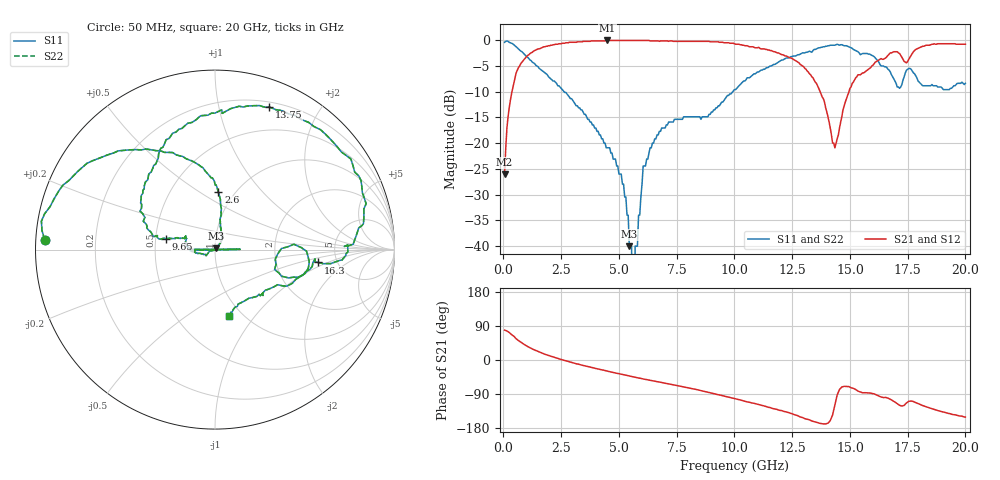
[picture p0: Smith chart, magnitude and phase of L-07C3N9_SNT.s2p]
#	mhz	s	ma	r	50
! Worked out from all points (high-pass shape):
!   400 points, 50 MHz to 20 GHz, reference 50 ohm
!   highest |S21| = -0.09 dB at 4.5 GHz (marker M1); lowest = -26.0 dB at 50 MHz (marker M2)
!   |S21| within 3 dB of the highest: 1.027 GHz to 12.2 GHz (11.17 GHz wide, 169 % of centre); 17.64 GHz to end of sweep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
!   lowest |S11| = -40.0 dB at 5.45 GHz (marker M3), VSWR 1.02, Z = 50.7 + j0.761 ohm
!   |S11| at or under -10 dB: 2.619 GHz to 9.931 GHz (7.313 GHz wide, 117 % of centre)
!   |S22| runs from - to -0.2 dB; largest |S21 - S12| = 0
!   S11 on the Smith chart (normalised r, x): 50 MHz: 0.03, +0.03; 2.6 GHz: 0.84, +0.60; 9.65 GHz: 0.57, +0.07; 13.75 GHz: 0.25, +1.42; 16.3 GHz: 3.58, -0.77; 20 GHz: 0.87, -0.75
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50  0.95 176.7  0.05 78.9  0.05 78.9  0.95 176.7
600  0.84 143.7  0.51 53.7  0.51 53.7  0.84 143.7
2600  0.32 86.6  0.93 -0.4  0.93 -0.4  0.32 86.6
3400  0.21 80.4  0.96 -13.6  0.96 -13.6  0.21 80.4
4500  0.09 65.2  0.99 -29.3  0.99 -29.3  0.09 65.2
5200  0.04 51.6  0.99 -38.8  0.99 -38.8  0.04 51.6
5450  0.01 48.7  0.99 -42.2  0.99 -42.2  0.01 48.7
5550  0.01 31.1  0.99 -43.5  0.99 -43.5  0.01 31.1
5600  0 95.2  0.99 -44.2  0.99 -44.2  0 95.2
5650  0 159.4  0.99 -44.9  0.99 -44.9  0 159.4
5700  0.01 2.4  0.99 -45.6  0.99 -45.6  0.01 2.4
6050  0.06 -145.6  0.99 -50.1  0.99 -50.1  0.06 -145.6
6700  0.12 -174.8  0.98 -57.7  0.98 -57.7  0.12 -174.8
9650  0.28 167.5  0.94 -96.7  0.94 -96.7  0.28 167.5
10050  0.33 166.3  0.91 -102.6  0.91 -102.6  0.33 166.3
13350  0.76 87.0  0.44 -160.9  0.44 -160.9  0.76 87.0
13750  0.85 69.1  0.3 -167.8  0.3 -167.8  0.85 69.1
14350  0.89 37.6  0.09 -118.7  0.09 -118.7  0.89 37.6
15100  0.83 9.3  0.38 -74.0  0.38 -74.0  0.83 9.3
16300  0.58 -7.1  0.65 -96.2  0.65 -96.2  0.58 -7.1
16700  0.51 -16.0  0.73 -102.1  0.73 -102.1  0.51 -16.0
20000  0.38 -78.0  0.91 -150.6  0.91 -150.6  0.38 -78.0
